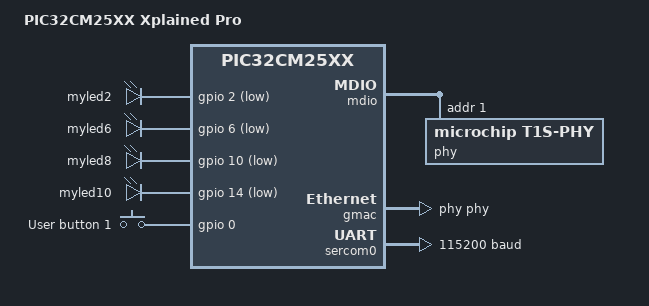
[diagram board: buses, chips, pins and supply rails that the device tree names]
/*
 * Copyright (c) 2024 Microchip Technology Inc
 *
 * SPDX-License-Identifier: Apache-2.0
 */

/dts-v1/;
#include <freq.h>
#include <microchip/pic32cm2564.dtsi>
#include "pic32cm25xx_xpro-pinctrl.dtsi"
#include <zephyr/dt-bindings/input/input-event-codes.h>
#include <zephyr/dt-bindings/gpio/gpio.h>

/ {
	model = "PIC32CM25XX Xplained Pro";
	compatible = "pic32cm25xx,xpro", "microchip,pic32cm2564", "microchip,pic32cm25xx";
	chosen {
		zephyr,console = &sercom0;
		zephyr,shell-uart = &sercom0;
		zephyr,sram = &sram0;
		zephyr,flash = &flash0;
	};

	aliases {
		led2 = &myled2;
		led6 = &myled6;
		led8 = &myled8;
		led10 = &myled10;
		sw3 = &button1;
	};

	leds {
		//6, 2, 10->LD8, 14->LD10 
		compatible = "gpio-leds";
		myled2: led_2 {
			gpios = <&gpio 2 GPIO_ACTIVE_LOW>;
		};
		myled6: led_6 {
			gpios = <&gpio 6 GPIO_ACTIVE_LOW>;
		};
		myled8: led_8 {
			/* DIO10 drives LD8 */
			gpios = <&gpio 10 GPIO_ACTIVE_LOW>;
		};
		myled10: led_10 {
			/* DIO14 drives LD10 */
			gpios = <&gpio 14 GPIO_ACTIVE_LOW>;
		};
	};

	buttons {
   		compatible = "gpio-keys";
   		button1: button_1 {
   			//gpios = <&gpio 0 (GPIO_PULL_UP | GPIO_ACTIVE_LOW)>;
   			//gpios = <&gpio 0 GPIO_ACTIVE_LOW>;
   			gpios = <&gpio 0 GPIO_ACTIVE_HIGH>;
   			label = "User button 1";
   		};
	};
};

&cpu0 {                                                                         
        //clock-frequency = <DT_FREQ_M(50)>;                                      
        clock-frequency = <50000000>;                                      
        //clock-frequency = <32000>;                                      
};

&mdio {
	status = "okay";

	//pinctrl-0 = <&mdio_default>;
	//pinctrl-names = "default";

	phy: ethernet-phy@1 {
#if 0
		compatible = "ethernet-phy";
		status = "okay";
		reg = <1>;
#endif
#if 1
		compatible = "microchip,t1s-phy";
		reg = <0x1>;
		plca-enable;
		plca-node-id = <0>;
		plca-node-count = <2>;
		plca-burst-count = <0>;
		plca-burst-timer = <0x80>;
		plca-to-timer = <0x20>;
		status = "okay";
#endif
	};
};

&gmac {
	status = "okay";
	phy-handle = <&phy>;
};

&sercom0 {
	status = "okay";
	compatible = "microchip,pic32-uart";
	current-speed = <115200>;
	rxpo = <1>;
	txpo = <0>;
	#address-cells = <1>;
	#size-cells = <0>;

	pinctrl-0 = <&sercom0_uart_default>;
	pinctrl-names = "default";
};
dut: &sercom1 {
	status = "disabled";
	compatible = "microchip,pic32-uart";
	current-speed = <115200>;
	rxpo = <1>;
	txpo = <0>;
	#address-cells = <1>;
	#size-cells = <0>;

	pinctrl-0 = <&sercom1_uart_default>;
	pinctrl-names = "default";
};

dut_aux: &sercom2 {
	status = "disabled";
	compatible = "microchip,pic32-uart";
	current-speed = <115200>;
	rxpo = <1>;
	txpo = <0>;
	#address-cells = <1>;
	#size-cells = <0>;

	pinctrl-0 = <&sercom2_uart_default>;
	pinctrl-names = "default";
};

&sercom3 {
	status = "disabled";
	compatible = "microchip,pic32-uart";
	current-speed = <115200>;
	rxpo = <1>;
	txpo = <0>;
	#address-cells = <1>;
	#size-cells = <0>;

	pinctrl-0 = <&sercom3_uart_default>;
	pinctrl-names = "default";
};
